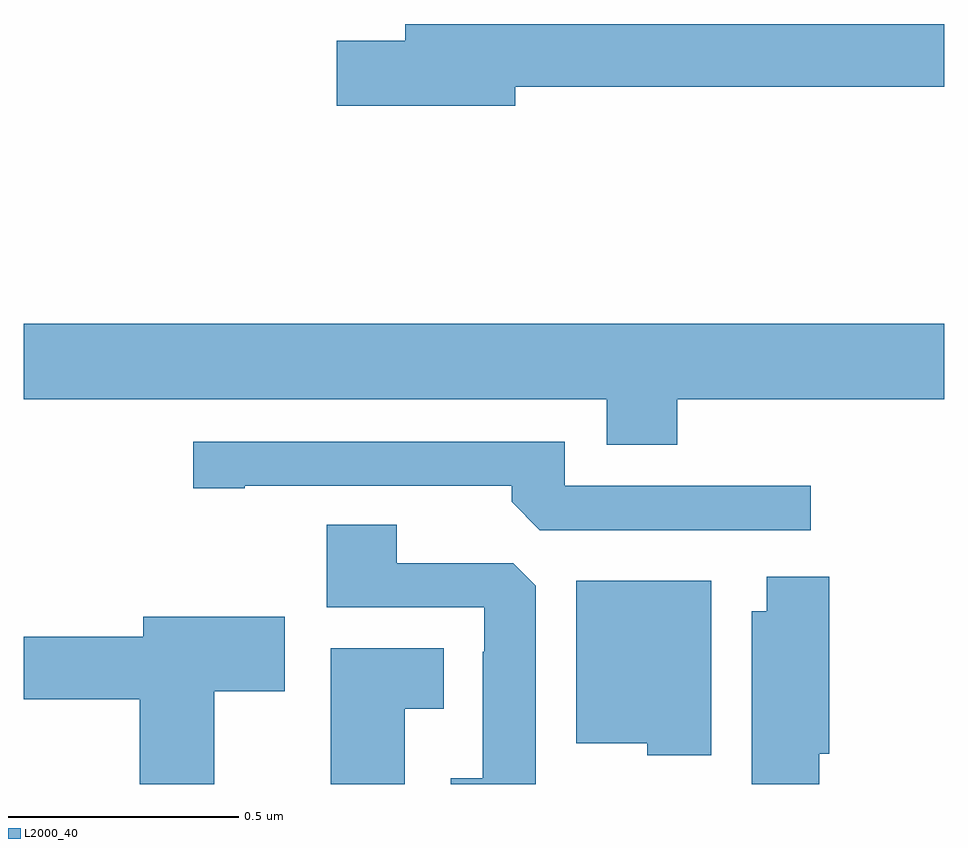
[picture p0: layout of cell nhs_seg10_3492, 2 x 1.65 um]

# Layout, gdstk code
import gdstk
lib = gdstk.Library(unit=1e-6, precision=1e-09)
def P(c, l, *ps):  # polygons
    for p in ps: c.add(gdstk.Polygon(p, *l))
L2000_40 = (2000, 40)

nhs_seg10_3492 = lib.new_cell('nhs_seg10_3492')
P(nhs_seg10_3492, L2000_40, [(155.068,1281.016),(156,1281.016),(156,1281.152),(154.829,1281.152),(154.829,1281.116),(154.68,1281.116),(154.68,1280.974),(155.068,1280.974)],
  [(155.42,1280.336),(156,1280.336),(156,1280.5),(154,1280.5),(154,1280.336),(155.267,1280.336),(155.267,1280.237),(155.42,1280.237)],
  [(155.71,1280.148),(155.175,1280.148),(155.175,1280.244),(154.368,1280.244),(154.368,1280.143),(154.48,1280.143),(154.48,1280.148),(155.06,1280.148),(155.06,1280.114),(155.121,1280.052),(155.71,1280.052)],
  [(155.113,1279.931),(155.064,1279.98),(154.81,1279.98),(154.81,1280.063),(154.658,1280.063),(154.658,1279.884),(155.001,1279.884),(155.001,1279.787),(154.997,1279.787),(154.997,1279.513),(154.928,1279.513),(154.928,1279.5),(155.113,1279.5)],
  [(155.729,1279.566),(155.75,1279.566),(155.75,1279.951),(155.615,1279.951),(155.615,1279.876),(155.582,1279.876),(155.582,1279.5),(155.729,1279.5)],
  [(155.494,1279.942),(155.201,1279.942),(155.201,1279.589),(155.355,1279.589),(155.355,1279.562),(155.494,1279.562)],
  [(154.414,1279.702),(154.567,1279.702),(154.567,1279.864),(154.259,1279.864),(154.259,1279.82),(154,1279.82),(154,1279.684),(154.252,1279.684),(154.252,1279.5),(154.414,1279.5)],
  [(154.828,1279.664),(154.912,1279.664),(154.912,1279.795),(154.667,1279.795),(154.667,1279.5),(154.828,1279.5)])

lib.write_gds('nhs_seg10_3492.gds')
